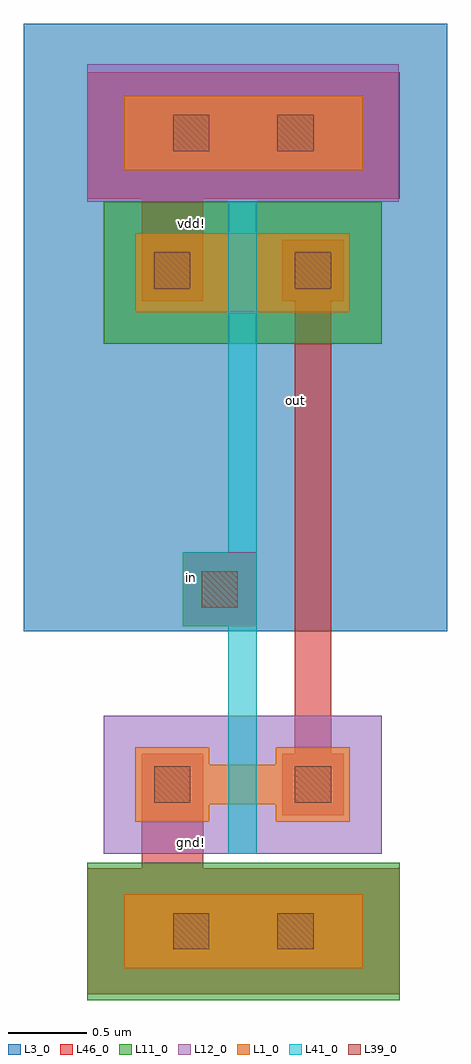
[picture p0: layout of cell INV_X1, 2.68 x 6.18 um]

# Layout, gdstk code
import gdstk
lib = gdstk.Library(unit=1e-6, precision=1e-09)
def R(c, l, rs):  # rectangles x0, y0, x1, y1
    for r in rs: c.add(gdstk.rectangle(r[:2], r[2:], *l))
L1_0 = (1, 0)
L3_0 = (3, 0)
L11_0 = (11, 0)
L12_0 = (12, 0)
L39_0 = (39, 0)
L41_0 = (41, 0)
L46_0 = (46, 0)

inv_x1 = lib.new_cell('INV_X1')
R(inv_x1, L1_0, [(0.235,-0.235,1.745,0.235), (0.305,0.695,0.775,1.165), (1.195,0.695,1.665,1.165), (0.305,0.805,1.665,1.055), (0.305,3.92,1.665,4.42), (0.235,4.82,1.745,5.29)])
R(inv_x1, L3_0, [(-0.4,1.9,2.28,5.745)])
R(inv_x1, L11_0, [(0,-0.435,1.98,0.435), (0.105,3.72,1.865,4.62)])
R(inv_x1, L12_0, [(0.105,0.49,1.865,1.365), (0,4.62,1.975,5.49)])
R(inv_x1, L39_0, [(0.545,-0.115,0.775,0.115), (1.205,-0.115,1.435,0.115), (0.425,0.815,0.655,1.045), (1.315,0.815,1.545,1.045), (0.725,2.05,0.955,2.28), (0.425,4.07,0.655,4.3), (1.315,4.07,1.545,4.3), (0.545,4.94,0.775,5.17), (1.205,4.94,1.435,5.17)])
R(inv_x1, L41_0, [(0.895,0.49,1.075,4.62), (0.605,1.93,1.075,2.4)])
R(inv_x1, L46_0, [(0,-0.4,1.98,0.4), (0.345,-0.4,0.54,1.125), (0.54,-0.4,0.735,1.125), (1.235,0.735,1.625,1.125), (1.315,0.735,1.43,4.38), (1.43,0.735,1.545,4.38), (0.605,1.93,1.075,2.4), (0.345,3.99,0.54,5.44), (0.54,3.99,0.735,5.44), (1.235,3.99,1.625,4.38), (0,4.64,1.98,5.44)])
inv_x1.add(gdstk.Label('vdd!', (0.66,4.48), layer=101, texttype=0))
inv_x1.add(gdstk.Label('out', (1.32,3.36), layer=101, texttype=0))
inv_x1.add(gdstk.Label('in', (0.66,2.24), layer=101, texttype=0))
inv_x1.add(gdstk.Label('gnd!', (0.66,0.56), layer=101, texttype=0))

lib.write_gds('INV_X1.gds')
